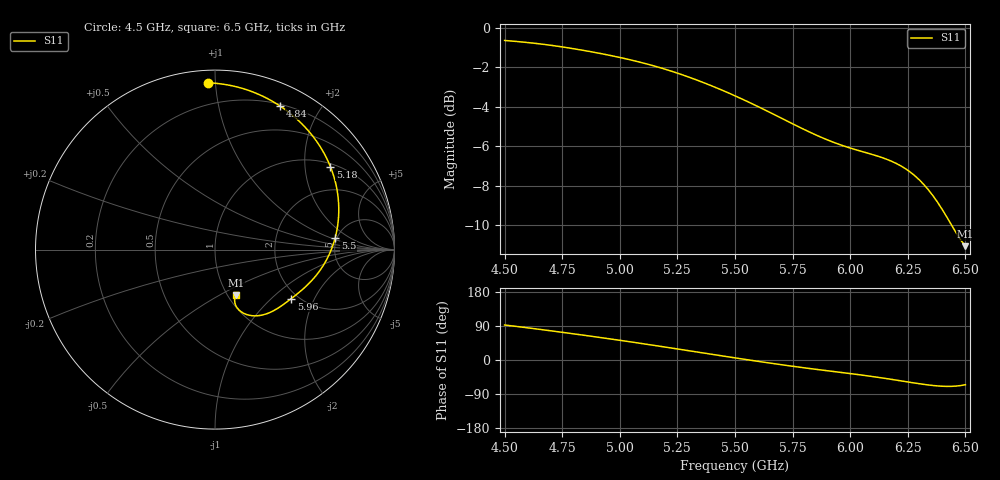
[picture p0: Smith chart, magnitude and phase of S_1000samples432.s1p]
! TOUCHSTONE file generated by CST MICROWAVE STUDIO
! Date and time: Fri Oct 28 04:03:09 2022
! Project name: L.cst
! Parameters = {Di=1.27; Epsilon_r=1.56; InnerDiameter=1.27; Length=2; Lf=10; Lg=60; OuterConductorThickness=0.2921; OuterDiameter=3.6; Wf=3; Wp=41.2; de=1.5; df=6.8; g=0.8; gx=0.594226; gy=4.56493; h=2.34; hf=1.524; px=8.63909; py=13.8834; w=9.7; wx=8.04487; wy=9.31848}
! Header version: 2018
! Port assignment regex: !\s*Touchstone port\s*([0-9]+)\s*=\s*(CST MWS port|CST DS port)\s*([0-9]+|Zmin|Zmax)\s*\(\"(.*)\"\)(\s*mode\s*([0-9]+))?.*
! Touchstone port assignment:
! Touchstone port 1 = CST MWS port 1 ("")
# GHz S DB R 50
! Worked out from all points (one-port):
!   101 points, 4.5 GHz to 6.5 GHz, reference 50 ohm
!   lowest |S11| = -11.1 dB at 6.5 GHz (marker M1), VSWR 1.78, Z = 54.6 - j30 ohm
!   |S11| at or under -10 dB: 6.44 GHz to end of sweep
!   S11 on the Smith chart (normalised r, x): 4.5 GHz: 0.07, +0.96; 4.84 GHz: 0.22, +1.53; 5.18 GHz: 1.10, +2.71; 5.5 GHz: 4.82, +1.17; 5.96 GHz: 1.83, -1.35; 6.5 GHz: 1.09, -0.60
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4.5  -0.63 92.3
4.58  -0.71 86.4
4.64  -0.78 81.8
4.7  -0.87 77.1
4.76  -0.97 72.2
4.84  -1.13 65.7
4.92  -1.30 58.9
5  -1.49 52.0
5.1  -1.77 43.0
5.18  -2.03 35.7
5.26  -2.33 28.2
5.32  -2.58 22.5
5.38  -2.85 16.9
5.44  -3.13 11.2
5.5  -3.44 5.6
5.58  -3.87 -1.7
5.64  -4.22 -7.1
5.76  -4.92 -17.3
5.84  -5.37 -23.7
5.96  -5.94 -32.8
6  -6.09 -35.8
6.16  -6.67 -49.3
6.22  -7.00 -55.0
6.26  -7.31 -58.9
6.32  -7.95 -64.3
6.4  -9.22 -69.2
6.46  -10.40 -68.8
6.5  -11.08 -65.3
